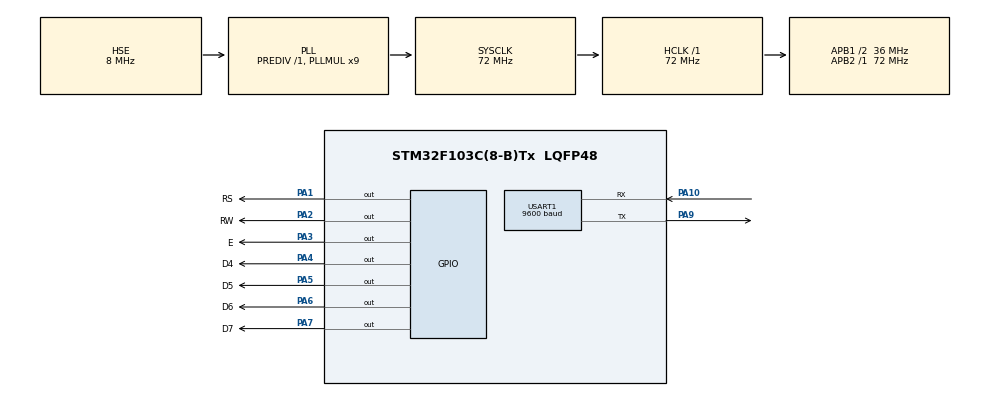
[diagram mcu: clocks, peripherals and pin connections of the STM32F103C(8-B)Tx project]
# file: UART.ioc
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Mcu.Family=STM32F1
Mcu.Name=STM32F103C(8-B)Tx
Mcu.Package=LQFP48
NVIC.PriorityGroup=NVIC_PRIORITYGROUP_4
NVIC.USART1_IRQn=true\:0\:0\:false\:false\:true\:true\:true\:true
PA1.GPIO_Label=RS
PA1.Signal=GPIO_Output
PA10.GPIO_PuPd=GPIO_NOPULL
PA10.Mode=Asynchronous
PA10.Signal=USART1_RX
PA13.Mode=Serial_Wire
PA13.Signal=SYS_JTMS-SWDIO
PA14.Mode=Serial_Wire
PA14.Signal=SYS_JTCK-SWCLK
PA2.GPIO_Label=RW
PA2.Signal=GPIO_Output
PA3.GPIO_Label=E
PA3.Signal=GPIO_Output
PA4.GPIO_Label=D4
PA4.Signal=GPIO_Output
PA5.GPIO_Label=D5
PA5.Signal=GPIO_Output
PA6.GPIO_Label=D6
PA6.Signal=GPIO_Output
PA7.GPIO_Label=D7
PA7.Signal=GPIO_Output
PA9.Mode=Asynchronous
PA9.Signal=USART1_TX
PD0-OSC_IN.Mode=HSE-External-Oscillator
PD0-OSC_IN.Signal=RCC_OSC_IN
PD1-OSC_OUT.Mode=HSE-External-Oscillator
PD1-OSC_OUT.Signal=RCC_OSC_OUT
ProjectManager.HeapSize=0x200
ProjectManager.StackSize=0x400
ProjectManager.TargetToolchain=MDK-ARM V5.32
RCC.AHBFreq_Value=72000000
RCC.APB1CLKDivider=RCC_HCLK_DIV2
RCC.APB1Freq_Value=36000000
RCC.APB1TimFreq_Value=72000000
RCC.APB2Freq_Value=72000000
RCC.APB2TimFreq_Value=72000000
RCC.HCLKFreq_Value=72000000
RCC.PLLMUL=RCC_PLL_MUL9
RCC.PLLSourceVirtual=RCC_PLLSOURCE_HSE
RCC.SYSCLKFreq_VALUE=72000000
RCC.SYSCLKSource=RCC_SYSCLKSOURCE_PLLCLK
RCC.USBFreq_Value=72000000
USART1.BaudRate=9600
USART1.VirtualMode=VM_ASYNC
board=custom

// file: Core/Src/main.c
/* USER CODE BEGIN Header */
/**
  ******************************************************************************
  * @file           : main.c
  * @brief          : Main program body
  ******************************************************************************
  * @attention
  *
  * Copyright (c) 2024 STMicroelectronics.
  * All rights reserved.
  *
  * This software is licensed under terms that can be found in the LICENSE file
  * in the root directory of this software component.
  * If no LICENSE file comes with this software, it is provided AS-IS.
  *
  ******************************************************************************
  */
/* USER CODE END Header */
#include "main.h"

/* USER CODE BEGIN Includes */
#include "stdbool.h"
#include "string.h"
#include "stdio.h"
/* USER CODE END Includes */

UART_HandleTypeDef huart1;

void SystemClock_Config(void);
static void MX_GPIO_Init(void);
static void MX_USART1_UART_Init(void);

/* USER CODE BEGIN 0 */
void lcd_write_nibble(uint8_t rs, uint8_t data)
{
	HAL_GPIO_WritePin(GPIOA, GPIO_PIN_1, rs);
	HAL_GPIO_WritePin(GPIOA, GPIO_PIN_2, 0);
	HAL_GPIO_WritePin(GPIOA, GPIO_PIN_3, 1);

	HAL_GPIO_WritePin(GPIOA, GPIO_PIN_7, (data>>3)&0x01);
	HAL_GPIO_WritePin(GPIOA, GPIO_PIN_6, (data>>2)&0x01);
	HAL_GPIO_WritePin(GPIOA, GPIO_PIN_5, (data>>1)&0x01);
	HAL_GPIO_WritePin(GPIOA, GPIO_PIN_4, (data>>0)&0x01);

	for(uint8_t i = 0; i < 72; i++) __asm("NOP");

	HAL_GPIO_WritePin(GPIOA, GPIO_PIN_3, 0);
	for(uint8_t i = 0; i < 72; i++) __asm("NOP");
}

void lcd_send_cmd(uint8_t cmd)
{
	lcd_write_nibble(0, (cmd>>4)&0x0F);
	lcd_write_nibble(0, cmd&0x0F);

	HAL_Delay(2);
}

void lcd_send_data(uint8_t data)
{
	lcd_write_nibble(1, (data>>4)&0x0F);
	lcd_write_nibble(1, data & 0x0F);

	HAL_Delay(2);
}

void lcd_init(void)
{
	HAL_Delay(20);

	lcd_write_nibble(0, 0x03); HAL_Delay(5);
	lcd_write_nibble(0, 0x03); HAL_Delay(1);
	lcd_write_nibble(0, 0x03); HAL_Delay(1);

	lcd_write_nibble(0, 0x02); HAL_Delay(1);

	lcd_send_cmd(0x28);
	lcd_send_cmd(0x0C);
	lcd_send_cmd(0x01);
	lcd_send_cmd(0x06);
}

void lcd_display(char *data)
{
	while(*data)
	{

		lcd_send_data(*data++);
	}
}

void lcd_gotoxy(uint8_t row, uint8_t col)
{
	uint8_t coordinates = 0;

	switch(row)
	{
	case 0:
		coordinates = 0x80 | col;
		break;
	case 1:
		coordinates = 0xC0 | col;
		break;
	}
	lcd_send_cmd(coordinates);
}

void lcd_clear(void)
{
  lcd_send_cmd(0x01);
}

uint8_t data_receive[1];
uint8_t data_buffer[20];
uint8_t response[50];
int package_size = 0;
int rx_index = 0;
volatile uint32_t last_receive_time = 0;

bool check_char(uint8_t data_buffer[])
{

	if(data_buffer[0] != '*' || data_buffer[package_size - 1] != '#')
	{
		return 0;
	}
	HAL_UART_Transmit(&huart1, (uint8_t*) "char ok\r\n", 11,100);
	return 1;
}

bool check_len(uint8_t data_buffer[],int data_size,int data_size_num )
{

	if(data_size < 1 || data_size > 16)
	{
		return 1;
	}
	HAL_UART_Transmit(&huart1, (uint8_t*) "1 ok\r\n", 8,100);
	if(data_size_num < 1 || data_size_num > 16)
	{
		return 0;
	}
	HAL_UART_Transmit(&huart1, (uint8_t*) "2 ok\r\n", 8,100);
	if(data_size != data_size_num)
	{
		return 0;
	}
	HAL_UART_Transmit(&huart1, (uint8_t*) "3 ok\r\n", 8,100);
	return 1;
}

void display_data(char* data)
{
	lcd_clear();
	lcd_gotoxy(0,0);
	lcd_display(data);
}

char* getdata_from_buffer(uint8_t data_buffer[],int size)
{
	uint8_t data[size+1];
	for(int index = 0; index <= size; index++)
	{
		data[index] = data_buffer[index+2];
	}

	static char lcd_string[20];
	memcpy(lcd_string, data, size);
	lcd_string[size] = '\0';
	return lcd_string;
}

void check_package(uint8_t data_buffer[])
{
	int data_size = package_size - 3;
	int data_size_num = data_buffer[1];
	if(check_char(data_buffer) == 0 || check_len(data_buffer, data_size, data_size_num) == 0)
	{
		strcpy((char*)response,"Error\r\n");
	}else
	{
		char* data = getdata_from_buffer(data_buffer, data_size);
		display_data(data);
		strcpy((char*)response, "Ok\r\n");
	}
}

/* USER CODE END 0 */

int main(void)
{

  /* MCU Configuration--------------------------------------------------------*/

  /* Reset of all peripherals, Initializes the Flash interface and the Systick. */
  HAL_Init();

  /* Configure the system clock */
  SystemClock_Config();

  /* Initialize all configured peripherals */
  MX_GPIO_Init();
  MX_USART1_UART_Init();
  /* USER CODE BEGIN 2 */
  lcd_init();
  HAL_UART_Receive_IT(&huart1, &data_receive[0],1);
  /* USER CODE END 2 */

  /* Infinite loop */
  while (1)
  {

    /* USER CODE BEGIN 3 */

	  if(rx_index > 0 && HAL_GetTick() - last_receive_time >= 100)
	  {
		  package_size = rx_index;
		  check_package(data_buffer);
		  HAL_UART_Transmit(&huart1, response, strlen((char*)response), 100);
		  rx_index = 0;
	  }

  }
  /* USER CODE END 3 */
}

void SystemClock_Config(void)
{
  RCC_OscInitTypeDef RCC_OscInitStruct = {0};
  RCC_ClkInitTypeDef RCC_ClkInitStruct = {0};

  /** Initializes the RCC Oscillators according to the specified parameters
  * in the RCC_OscInitTypeDef structure.
  */
  RCC_OscInitStruct.OscillatorType = RCC_OSCILLATORTYPE_HSE;
  RCC_OscInitStruct.HSEState = RCC_HSE_ON;
  RCC_OscInitStruct.HSEPredivValue = RCC_HSE_PREDIV_DIV1;
  RCC_OscInitStruct.HSIState = RCC_HSI_ON;
  RCC_OscInitStruct.PLL.PLLState = RCC_PLL_ON;
  RCC_OscInitStruct.PLL.PLLSource = RCC_PLLSOURCE_HSE;
  RCC_OscInitStruct.PLL.PLLMUL = RCC_PLL_MUL9;
  if (HAL_RCC_OscConfig(&RCC_OscInitStruct) != HAL_OK)
  {
    Error_Handler();
  }

  /** Initializes the CPU, AHB and APB buses clocks
  */
  RCC_ClkInitStruct.ClockType = RCC_CLOCKTYPE_HCLK|RCC_CLOCKTYPE_SYSCLK
                              |RCC_CLOCKTYPE_PCLK1|RCC_CLOCKTYPE_PCLK2;
  RCC_ClkInitStruct.SYSCLKSource = RCC_SYSCLKSOURCE_PLLCLK;
  RCC_ClkInitStruct.AHBCLKDivider = RCC_SYSCLK_DIV1;
  RCC_ClkInitStruct.APB1CLKDivider = RCC_HCLK_DIV2;
  RCC_ClkInitStruct.APB2CLKDivider = RCC_HCLK_DIV1;

  if (HAL_RCC_ClockConfig(&RCC_ClkInitStruct, FLASH_LATENCY_2) != HAL_OK)
  {
    Error_Handler();
  }
}

static void MX_USART1_UART_Init(void)
{

  huart1.Instance = USART1;
  huart1.Init.BaudRate = 9600;
  huart1.Init.WordLength = UART_WORDLENGTH_8B;
  huart1.Init.StopBits = UART_STOPBITS_1;
  huart1.Init.Parity = UART_PARITY_NONE;
  huart1.Init.Mode = UART_MODE_TX_RX;
  huart1.Init.HwFlowCtl = UART_HWCONTROL_NONE;
  huart1.Init.OverSampling = UART_OVERSAMPLING_16;
  if (HAL_UART_Init(&huart1) != HAL_OK)
  {
    Error_Handler();
  }

}

static void MX_GPIO_Init(void)
{
  GPIO_InitTypeDef GPIO_InitStruct = {0};

  /* GPIO Ports Clock Enable */
  __HAL_RCC_GPIOD_CLK_ENABLE();
  __HAL_RCC_GPIOA_CLK_ENABLE();

  /*Configure GPIO pin Output Level */
  HAL_GPIO_WritePin(GPIOA, RS_Pin|RW_Pin|E_Pin|D4_Pin
                          |D5_Pin|D6_Pin|D7_Pin, GPIO_PIN_RESET);

  /*Configure GPIO pins : RS_Pin RW_Pin E_Pin D4_Pin
                           D5_Pin D6_Pin D7_Pin */
  GPIO_InitStruct.Pin = RS_Pin|RW_Pin|E_Pin|D4_Pin
                          |D5_Pin|D6_Pin|D7_Pin;
  GPIO_InitStruct.Mode = GPIO_MODE_OUTPUT_PP;
  GPIO_InitStruct.Pull = GPIO_NOPULL;
  GPIO_InitStruct.Speed = GPIO_SPEED_FREQ_LOW;
  HAL_GPIO_Init(GPIOA, &GPIO_InitStruct);

}

void Error_Handler(void)
{
  __disable_irq();
  while (1)
  {
  }
}
